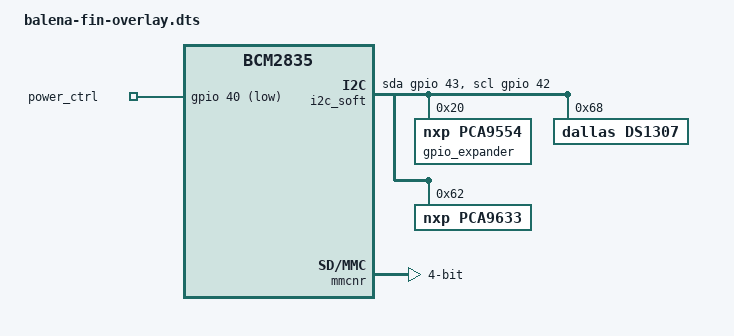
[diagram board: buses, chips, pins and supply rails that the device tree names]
/dts-v1/;
/plugin/;

#include <dt-bindings/gpio/gpio.h>

/{
	compatible = "brcm,bcm2835";

	fragment@0 {
		target = <&mmcnr>;
		__overlay__ {
			pinctrl-names = "default";
			pinctrl-0 = <&sdio_pins>;
			bus-width = <4>;
			brcm,overclock-50 = <35>;
			status = "okay";
		};
	};

	fragment@1 {
		target = <&gpio>;
		__overlay__ {
			sdio_pins: sdio_pins {
				brcm,pins = <34 35 36 37 38 39>;
				brcm,function = <7>; /* ALT3 = SD1 */
				brcm,pull = <0 2 2 2 2 2>;
			};

			power_ctrl_pins: power_ctrl_pins {
				brcm,pins = <40>;
				brcm,function = <1>; // out
			};
		};
	};

	fragment@2 {
		target-path = "/";
		__overlay__ {
			// We should switch to mmc-pwrseq-sd8787 after making it
			// compatible with sd8887
			// Currently that module requires two GPIOs to function since it
			// targets a slightly different chip
			power_ctrl: power_ctrl {
				compatible = "gpio-poweroff";
				gpios = <&gpio 40 1>;
				force;
				pinctrl-names = "default";
				pinctrl-0 = <&power_ctrl_pins>;
			};

			i2c_soft: i2c@0 {
				compatible = "i2c-gpio";
				gpios = <&gpio 43 (GPIO_ACTIVE_HIGH|GPIO_OPEN_DRAIN) /* sda */
				         &gpio 42 (GPIO_ACTIVE_HIGH|GPIO_OPEN_DRAIN) /* scl */>;
				i2c-gpio,delay-us = <5>;
				i2c-gpio,scl-open-drain;
				i2c-gpio,sda-open-drain;
				#address-cells = <1>;
				#size-cells = <0>;
			};

			sd8xxx-wlan {
				drvdbg = <0x6>;
				drv_mode = <0x1>;
				cfg80211_wext = <0xf>;
				sta_name = "wlan";
				wfd_name = "p2p";
				cal_data_cfg = "none";
			};
		};
	};

	fragment@3 {
		target = <&i2c_soft>;
		__overlay__ {
			#address-cells = <1>;
			#size-cells = <0>;
			status = "okay";

			gpio_expander: gpio_expander@20 {
				compatible = "nxp,pca9554";
				gpio-controller;
				#gpio-cells = <2>;
				reg = <0x20>;
				status = "okay";
			};

			// rtc clock
			ds1307: ds1307@68 {
				compatible = "dallas,ds1307";
				reg = <0x68>;
				status = "okay";
			};

			// RGB LEDs (>= v1.1.0)
			pca9633: pca9633@62 {
				compatible = "nxp,pca9633";
				reg = <0x62>;
				#address-cells = <1>;
				#size-cells = <0>;

				red@0 {
					label = "red";
					reg = <0>;
					linux,default-trigger = "none";
				};
				green@1 {
					label = "green";
					reg = <1>;
					linux,default-trigger = "none";
				};
				blue@2 {
					label = "blue";
					reg = <2>;
					linux,default-trigger = "none";
				};
				unused@3 {
					label = "unused";
					reg = <3>;
					linux,default-trigger = "none";
				};
			};
		};
	};
};
